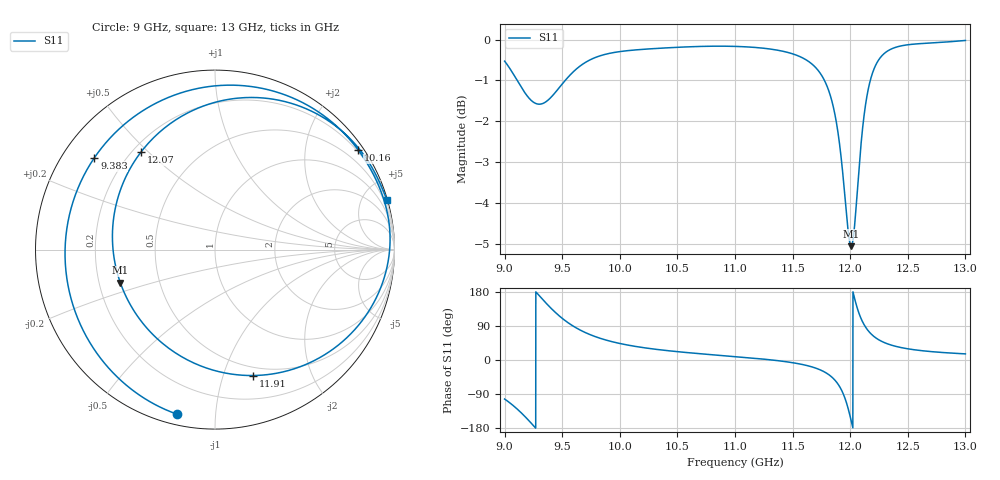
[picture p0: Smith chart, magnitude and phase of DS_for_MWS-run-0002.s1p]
! TOUCHSTONE file generated by CST DESIGN STUDIO
! Date and time: Tue Feb  4 16:20:36 2025
! Project name: C:\Work\MatlabApps\UnitCellOptimizationMatlab\CST\unitcell.cst
! Tree item: Tasks\Sweep1\SPara1\S-Parameters
! Header version: 2024
! Port assignment regex: !\s*Touchstone port\s*([0-9]+)\s*=\s*(CST MWS port|CST DES external port|CST DES block port)\s*(.+)\s* \(\"(.*)\"\)(\s*mode\s*([0-9]+))?.*
! Touchstone port assignment:
! Touchstone port 1 = CST DES external port 1 ("")
# GHz S MA R 50
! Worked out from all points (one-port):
!   4001 points, 9 GHz to 13 GHz, reference 50 ohm
!   lowest |S11| = -5.1 dB at 12.01 GHz (marker M1), VSWR 3.53, Z = 14.5 - j7.76 ohm
!   |S11| at or under -10 dB: nowhere
!   S11 on the Smith chart (normalised r, x): 9 GHz: 0.05, -0.79; 9.383 GHz: 0.09, +0.33; 10.16 GHz: 0.16, +3.20; 11.91 GHz: 0.42, -1.26; 12.07 GHz: 0.23, +0.48; 13 GHz: 0.06, +7.05
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9  0.9411 -103.0
9.106  0.8928 -128.5
9.219  0.8458 -162.7
9.299  0.8336 170.3
9.383  0.8446 142.7
9.5  0.8824 110.0
9.601  0.9146 88.4
9.733  0.9432 68.1
10  0.9668 43.6
10.16  0.972 34.7
10.5  0.9785 22.0
11  0.9811 9.0
11.5  0.9607 -7.1
11.773  0.8933 -30.9
11.851  0.8301 -48.0
11.914  0.7326 -73.3
11.959  0.6314 -104.8
12  0.5616 -149.3
12.009  0.5588 -160.8
12.039  0.594 161.3
12.072  0.6828 127.0
12.101  0.7628 104.8
12.134  0.8338 86.6
12.183  0.9003 68.3
12.236  0.939 55.6
12.342  0.9716 40.7
12.5  0.9855 29.6
13  0.9976 16.1
